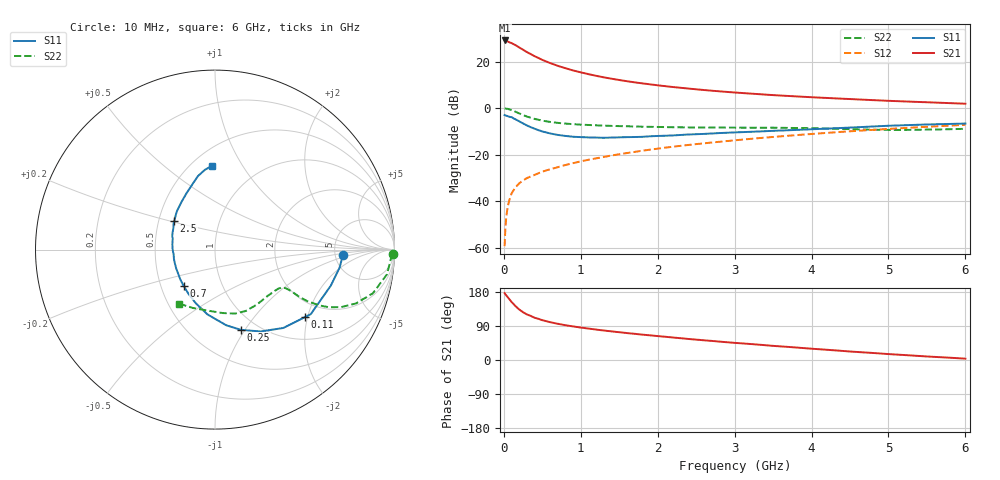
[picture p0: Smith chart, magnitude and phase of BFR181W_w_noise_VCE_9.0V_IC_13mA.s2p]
! Infineon Technologies  Discrete & RF Semiconductors
! BFR181W
! VCE =  9.0 V,  IC =  13 mA
! Common Emitter S-Parameters:  Jan 2017
# GHz  S  MA  R  50
!  f  S11  S21  S12  S22
! GHz  MAG  ANG  MAG  ANG  MAG  ANG  MAG  ANG
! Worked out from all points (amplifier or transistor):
!   77 points, 10 MHz to 6 GHz, reference 50 ohm
!   highest |S21| = 29.1 dB at 10 MHz (marker M1)
!   |S21| within 3 dB of that: start of sweep to 200.1 MHz
!   unconditionally stable (mu >= 1): 972.7 MHz to 2.917 GHz
!   at 130 MHz: K = 0.30, MSG = 31.2 dB, |S12| = -35.0 dB
!   at 2.2 GHz: K = 1.05, MAG = 11.5 dB, |S12| = -16.5 dB
!   at 6 GHz: K = 0.85, MSG = 4.5 dB, |S12| = -7.1 dB
!   lowest NFmin = 1.39 dB at 450 MHz
!   S11 on the Smith chart (normalised r, x): 10 MHz: 5.90, -0.69; 110 MHz: 1.56, -1.93; 250 MHz: 0.84, -0.96; 700 MHz: 0.65, -0.28; 2.5 GHz: 0.60, +0.21; 6 GHz: 0.62, +0.75
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0.01  0.7135 -2.3  28.35 176.6  0.0011 84.4  0.9902 -1.5
0.02  0.7013 -8.3  27.91 173.4  0.0027 99.9  0.981 -3.0
0.05  0.6757 -17.3  26.97 165.8  0.0075 80.8  0.968 -8.2
0.1  0.6434 -34.0  24.95 153.1  0.0148 76.2  0.9123 -15.5
0.11  0.6274 -36.7  24.41 151.1  0.0158 75.0  0.8974 -16.5
0.15  0.5793 -48.9  22.57 142.4  0.0199 71.3  0.841 -20.9
0.2  0.5225 -60.8  20.07 133.3  0.0245 67.8  0.7727 -24.5
0.25  0.4704 -72.0  17.91 126.1  0.0283 65.0  0.7125 -26.8
0.3  0.4265 -81.5  15.96 120.3  0.0317 63.2  0.6614 -28.1
0.4  0.3633 -96.7  13.02 111.5  0.0371 63.3  0.589 -29.2
0.5  0.3173 -109.8  10.87 105.1  0.0436 63.7  0.5405 -29.3
0.6  0.2878 -120.7  9.312 99.9  0.049 64.5  0.5084 -28.9
0.7  0.2675 -130.8  8.112 95.6  0.0542 66.1  0.4845 -28.6
0.9  0.2442 -148.0  6.454 88.6  0.0663 67.2  0.4547 -28.6
1.1  0.2364 -161.4  5.371 83.0  0.0783 68.2  0.4366 -29.2
1.5  0.2371 177.5  4.022 73.3  0.1028 68.9  0.4129 -32.0
2.1  0.2569 155.9  2.967 61.3  0.1425 67.8  0.3932 -39.9
2.5  0.2768 145.3  2.543 53.8  0.1696 66.2  0.3863 -46.6
3.1  0.3068 132.0  2.115 43.8  0.212 63.2  0.3825 -57.0
4.1  0.3591 114.9  1.687 28.4  0.2878 56.5  0.3691 -74.5
5.1  0.4254 101.9  1.418 14.4  0.3671 48.3  0.3417 -99.3
6  0.4685 91.8  1.248 3.6  0.4398 40.0  0.362 -123.9
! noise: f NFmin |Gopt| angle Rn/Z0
0.45  1.39  0.08  17  0.21
0.9  1.43  0.08  31  0.21
1.9  1.86  0.09  -144  0.21
2.4  2.07  0.11  -109  0.26
